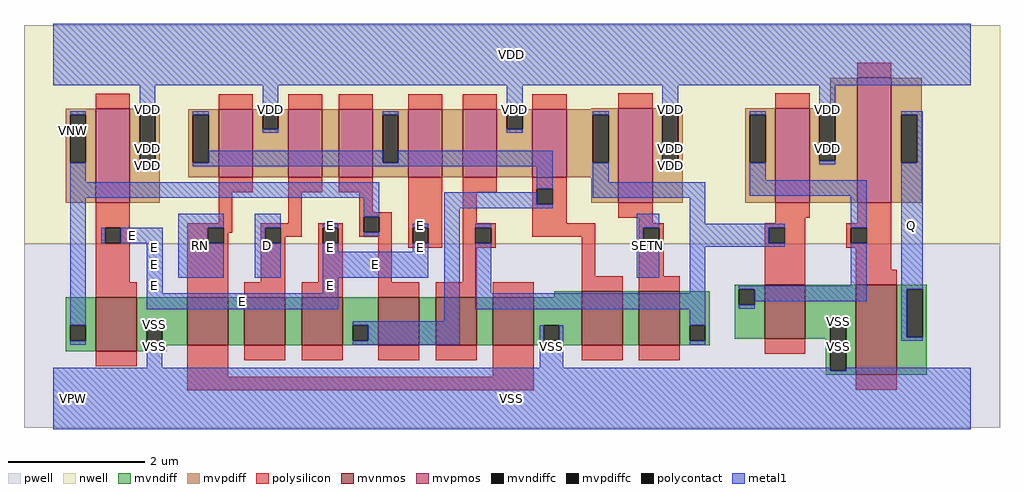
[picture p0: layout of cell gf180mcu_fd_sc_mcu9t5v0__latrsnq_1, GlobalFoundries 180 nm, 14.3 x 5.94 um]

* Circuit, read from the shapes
.subckt gf180mcu_fd_sc_mcu9t5v0__latrsnq_1 D E RN SETN Q VDD VNW VPW VSS
XM1 VSS E n1 VPW nfet_06v0 w=0.79u l=0.6u
XM2 n2 RN VSS VPW nfet_06v0 w=0.7u l=0.6u
XM3 n3 D n2 VPW nfet_06v0 w=0.7u l=0.6u
XM4 n4 E n3 VPW nfet_06v0 w=0.7u l=0.6u
XM5 n5 n1 n4 VPW nfet_06v0 w=0.7u l=0.6u
XM6 n6 n7 n5 VPW nfet_06v0 w=0.7u l=0.6u
XM7 VSS RN n6 VPW nfet_06v0 w=0.7u l=0.6u
XM8 n8 n4 VSS VPW nfet_06v0 w=0.79u l=0.6u
XM9 n7 SETN n8 VPW nfet_06v0 w=0.79u l=0.6u
XM10 VSS n7 n9 VPW nfet_06v0 w=0.79u l=0.6u
XM11 Q n9 VSS VPW nfet_06v0 w=1.32u l=0.6u
XM12 VDD E n1 VNW pfet_06v0 w=1.38u l=0.5u
XM13 VDD RN n4 VNW pfet_06v0 w=1u l=0.5u
XM14 n10 D VDD VNW pfet_06v0 w=1u l=0.5u
XM15 n4 n1 n10 VNW pfet_06v0 w=1u l=0.5u
XM16 n11 E n4 VNW pfet_06v0 w=1u l=0.5u
XM17 VDD n7 n11 VNW pfet_06v0 w=1u l=0.5u
XM18 n7 n4 VDD VNW pfet_06v0 w=1u l=0.5u
XM19 VDD SETN n7 VNW pfet_06v0 w=1.38u l=0.5u
XM20 VDD n7 n9 VNW pfet_06v0 w=1.38u l=0.5u
XM21 Q n9 VDD VNW pfet_06v0 w=1.83u l=0.5u
.ends

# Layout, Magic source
magic
tech gf180mcuD
magscale 1 10
<< nwell >>
rect -86 453 2774 1094
<< pwell >>
rect -86 -86 2774 453
<< mvnmos >>
rect 124 138 244 296
rect 392 156 512 296
rect 560 156 680 296
rect 728 156 848 296
rect 952 156 1072 296
rect 1120 156 1240 296
rect 1288 156 1408 296
rect 1548 156 1668 314
rect 1716 156 1836 314
rect 2084 175 2204 333
rect 2352 69 2472 333
<< mvpmos >>
rect 124 573 224 849
rect 484 648 584 848
rect 688 648 788 848
rect 836 648 936 848
rect 1040 648 1140 848
rect 1200 648 1300 848
rect 1404 648 1504 848
rect 1656 574 1756 850
rect 2116 574 2216 850
rect 2356 574 2456 940
<< mvndiff >>
rect 1996 320 2084 333
rect 1468 296 1548 314
rect 36 215 124 296
rect 36 169 49 215
rect 95 169 124 215
rect 36 138 124 169
rect 244 205 392 296
rect 244 159 273 205
rect 319 159 392 205
rect 244 156 392 159
rect 512 156 560 296
rect 680 156 728 296
rect 848 215 952 296
rect 848 169 877 215
rect 923 169 952 215
rect 848 156 952 169
rect 1072 156 1120 296
rect 1240 156 1288 296
rect 1408 215 1548 296
rect 1408 169 1437 215
rect 1483 169 1548 215
rect 1408 156 1548 169
rect 1668 156 1716 314
rect 1836 215 1924 314
rect 1836 169 1865 215
rect 1911 169 1924 215
rect 1996 274 2009 320
rect 2055 274 2084 320
rect 1996 175 2084 274
rect 2204 222 2352 333
rect 2204 175 2277 222
rect 1836 156 1924 169
rect 244 138 332 156
rect 2264 82 2277 175
rect 2323 82 2352 222
rect 2264 69 2352 82
rect 2472 320 2560 333
rect 2472 180 2501 320
rect 2547 180 2560 320
rect 2472 69 2560 180
<< mvpdiff >>
rect 36 831 124 849
rect 36 691 49 831
rect 95 691 124 831
rect 36 573 124 691
rect 224 831 312 849
rect 2276 850 2356 940
rect 1576 848 1656 850
rect 224 691 253 831
rect 299 691 312 831
rect 224 573 312 691
rect 396 831 484 848
rect 396 691 409 831
rect 455 691 484 831
rect 396 648 484 691
rect 584 835 688 848
rect 584 789 613 835
rect 659 789 688 835
rect 584 648 688 789
rect 788 648 836 848
rect 936 831 1040 848
rect 936 691 965 831
rect 1011 691 1040 831
rect 936 648 1040 691
rect 1140 648 1200 848
rect 1300 835 1404 848
rect 1300 789 1329 835
rect 1375 789 1404 835
rect 1300 648 1404 789
rect 1504 831 1656 848
rect 1504 691 1581 831
rect 1627 691 1656 831
rect 1504 648 1656 691
rect 1576 574 1656 648
rect 1756 831 1844 850
rect 1756 691 1785 831
rect 1831 691 1844 831
rect 1756 574 1844 691
rect 2028 831 2116 850
rect 2028 691 2041 831
rect 2087 691 2116 831
rect 2028 574 2116 691
rect 2216 837 2356 850
rect 2216 697 2245 837
rect 2291 697 2356 837
rect 2216 574 2356 697
rect 2456 831 2544 940
rect 2456 691 2485 831
rect 2531 691 2544 831
rect 2456 574 2544 691
<< mvndiffc >>
rect 49 169 95 215
rect 273 159 319 205
rect 877 169 923 215
rect 1437 169 1483 215
rect 1865 169 1911 215
rect 2009 274 2055 320
rect 2277 82 2323 222
rect 2501 180 2547 320
<< mvpdiffc >>
rect 49 691 95 831
rect 253 691 299 831
rect 409 691 455 831
rect 613 789 659 835
rect 965 691 1011 831
rect 1329 789 1375 835
rect 1581 691 1627 831
rect 1785 691 1831 831
rect 2041 691 2087 831
rect 2245 697 2291 837
rect 2485 691 2531 831
<< polysilicon >>
rect 2356 940 2456 984
rect 124 849 224 893
rect 484 848 584 892
rect 688 848 788 892
rect 836 848 936 892
rect 1040 848 1140 892
rect 1200 848 1300 892
rect 1404 848 1504 892
rect 1656 850 1756 894
rect 2116 850 2216 894
rect 484 604 584 648
rect 688 604 788 648
rect 836 604 936 648
rect 124 501 224 573
rect 484 514 524 604
rect 688 514 728 604
rect 896 546 936 604
rect 896 533 992 546
rect 124 455 152 501
rect 198 455 224 501
rect 124 340 224 455
rect 392 501 524 514
rect 392 455 453 501
rect 499 485 524 501
rect 608 501 728 514
rect 499 455 512 485
rect 124 296 244 340
rect 392 296 512 455
rect 608 455 621 501
rect 667 474 728 501
rect 776 501 848 514
rect 667 455 680 474
rect 608 340 680 455
rect 776 455 789 501
rect 835 455 848 501
rect 896 487 909 533
rect 955 487 992 533
rect 896 474 992 487
rect 776 340 848 455
rect 560 296 680 340
rect 728 296 848 340
rect 952 340 992 474
rect 1040 501 1140 648
rect 1040 455 1053 501
rect 1099 455 1140 501
rect 1040 442 1140 455
rect 1200 604 1300 648
rect 1404 615 1504 648
rect 1200 514 1240 604
rect 1404 569 1417 615
rect 1463 569 1504 615
rect 1404 514 1504 569
rect 1656 530 1756 574
rect 1716 514 1756 530
rect 2116 530 2216 574
rect 2116 514 2204 530
rect 2356 514 2456 574
rect 1200 501 1296 514
rect 1200 455 1237 501
rect 1283 455 1296 501
rect 1404 474 1588 514
rect 1200 442 1296 455
rect 1200 340 1240 442
rect 1548 358 1588 474
rect 1716 501 1788 514
rect 1716 455 1729 501
rect 1775 455 1788 501
rect 1716 358 1788 455
rect 2084 501 2204 514
rect 2084 455 2097 501
rect 2143 455 2204 501
rect 952 296 1072 340
rect 1120 296 1240 340
rect 1288 296 1408 340
rect 1548 314 1668 358
rect 1716 314 1836 358
rect 2084 333 2204 455
rect 2324 501 2456 514
rect 2324 455 2337 501
rect 2383 455 2456 501
rect 2324 442 2456 455
rect 2352 377 2456 442
rect 2352 333 2472 377
rect 124 94 244 138
rect 392 64 512 156
rect 560 112 680 156
rect 728 112 848 156
rect 952 112 1072 156
rect 1120 112 1240 156
rect 1288 64 1408 156
rect 1548 112 1668 156
rect 1716 112 1836 156
rect 2084 131 2204 175
rect 392 24 1408 64
rect 2352 25 2472 69
<< polycontact >>
rect 152 455 198 501
rect 453 455 499 501
rect 621 455 667 501
rect 789 455 835 501
rect 909 487 955 533
rect 1053 455 1099 501
rect 1417 569 1463 615
rect 1237 455 1283 501
rect 1729 455 1775 501
rect 2097 455 2143 501
rect 2337 455 2383 501
<< metal1 >>
rect 0 918 2688 1098
rect 49 831 95 842
rect 49 634 95 691
rect 253 831 299 918
rect 253 680 299 691
rect 409 831 455 842
rect 613 835 659 918
rect 613 778 659 789
rect 965 831 1011 842
rect 455 691 965 726
rect 1329 835 1375 918
rect 1329 778 1375 789
rect 1581 831 1627 842
rect 1011 691 1463 726
rect 409 680 1463 691
rect 49 588 955 634
rect 1417 615 1463 680
rect 49 215 95 588
rect 366 501 499 542
rect 141 455 152 501
rect 198 455 320 501
rect 274 308 320 455
rect 366 455 453 501
rect 366 354 499 455
rect 590 501 667 542
rect 909 533 955 588
rect 590 455 621 501
rect 590 354 667 455
rect 789 501 835 512
rect 1145 569 1417 604
rect 1581 634 1627 691
rect 1785 831 1831 918
rect 1785 680 1831 691
rect 2041 831 2087 842
rect 2041 640 2087 691
rect 2245 837 2291 918
rect 2245 686 2291 697
rect 2485 831 2547 842
rect 2531 691 2547 831
rect 1581 588 1911 634
rect 2041 594 2383 640
rect 1145 558 1463 569
rect 909 476 955 487
rect 1053 501 1099 512
rect 789 430 835 455
rect 1053 430 1099 455
rect 789 354 1099 430
rect 789 308 835 354
rect 274 262 835 308
rect 1145 226 1191 558
rect 1237 501 1283 512
rect 1237 308 1283 455
rect 1710 501 1775 542
rect 1710 455 1729 501
rect 1710 354 1775 455
rect 1865 512 1911 588
rect 1865 501 2143 512
rect 1865 455 2097 501
rect 1865 444 2143 455
rect 2337 501 2383 594
rect 1865 308 1911 444
rect 2337 331 2383 455
rect 1237 262 1911 308
rect 2009 320 2383 331
rect 2055 285 2383 320
rect 2485 320 2547 691
rect 2009 263 2055 274
rect 49 158 95 169
rect 273 205 319 216
rect 273 90 319 159
rect 877 215 1191 226
rect 1865 215 1911 262
rect 923 169 1191 215
rect 877 158 1191 169
rect 1426 169 1437 215
rect 1483 169 1494 215
rect 1426 90 1494 169
rect 1865 158 1911 169
rect 2277 222 2323 233
rect 0 82 2277 90
rect 2485 180 2501 320
rect 2485 169 2547 180
rect 2323 82 2688 90
rect 0 -90 2688 82
<< labels >>
flabel metal1 s 590 354 667 542 0 FreeSans 200 0 0 0 D
port 1 nsew default input
flabel metal1 s 1053 501 1099 512 0 FreeSans 200 0 0 0 E
port 2 nsew clock input
flabel metal1 s 2485 169 2547 842 0 FreeSans 200 0 0 0 Q
port 5 nsew default output
flabel metal1 s 366 354 499 542 0 FreeSans 200 0 0 0 RN
port 3 nsew default input
flabel metal1 s 1710 354 1775 542 0 FreeSans 200 0 0 0 SETN
port 4 nsew default input
flabel metal1 s 0 918 2688 1098 0 FreeSans 200 0 0 0 VDD
port 6 nsew power bidirectional abutment
flabel metal1 s 2277 216 2323 233 0 FreeSans 200 0 0 0 VSS
port 9 nsew ground bidirectional abutment
flabel nwell s 10 734 110 834 0 FreeSans 400 0 0 0 VNW
port 7 nsew power bidirectional
flabel pwell s 10 -50 110 50 0 FreeSans 400 0 0 0 VPW
port 8 nsew ground bidirectional
rlabel metal1 s 789 501 835 512 1 E
port 2 nsew clock input
rlabel metal1 s 1053 455 1099 501 1 E
port 2 nsew clock input
rlabel metal1 s 789 455 835 501 1 E
port 2 nsew clock input
rlabel metal1 s 141 455 320 501 1 E
port 2 nsew clock input
rlabel metal1 s 1053 430 1099 455 1 E
port 2 nsew clock input
rlabel metal1 s 789 430 835 455 1 E
port 2 nsew clock input
rlabel metal1 s 274 430 320 455 1 E
port 2 nsew clock input
rlabel metal1 s 789 354 1099 430 1 E
port 2 nsew clock input
rlabel metal1 s 274 354 320 430 1 E
port 2 nsew clock input
rlabel metal1 s 789 308 835 354 1 E
port 2 nsew clock input
rlabel metal1 s 274 308 320 354 1 E
port 2 nsew clock input
rlabel metal1 s 274 262 835 308 1 E
port 2 nsew clock input
rlabel metal1 s 2245 778 2291 918 1 VDD
port 6 nsew power bidirectional abutment
rlabel metal1 s 1785 778 1831 918 1 VDD
port 6 nsew power bidirectional abutment
rlabel metal1 s 1329 778 1375 918 1 VDD
port 6 nsew power bidirectional abutment
rlabel metal1 s 613 778 659 918 1 VDD
port 6 nsew power bidirectional abutment
rlabel metal1 s 253 778 299 918 1 VDD
port 6 nsew power bidirectional abutment
rlabel metal1 s 2245 686 2291 778 1 VDD
port 6 nsew power bidirectional abutment
rlabel metal1 s 1785 686 1831 778 1 VDD
port 6 nsew power bidirectional abutment
rlabel metal1 s 253 686 299 778 1 VDD
port 6 nsew power bidirectional abutment
rlabel metal1 s 1785 680 1831 686 1 VDD
port 6 nsew power bidirectional abutment
rlabel metal1 s 253 680 299 686 1 VDD
port 6 nsew power bidirectional abutment
rlabel metal1 s 2277 215 2323 216 1 VSS
port 9 nsew ground bidirectional abutment
rlabel metal1 s 273 215 319 216 1 VSS
port 9 nsew ground bidirectional abutment
rlabel metal1 s 2277 90 2323 215 1 VSS
port 9 nsew ground bidirectional abutment
rlabel metal1 s 1426 90 1494 215 1 VSS
port 9 nsew ground bidirectional abutment
rlabel metal1 s 273 90 319 215 1 VSS
port 9 nsew ground bidirectional abutment
rlabel metal1 s 0 -90 2688 90 1 VSS
port 9 nsew ground bidirectional abutment
<< properties >>
string FIXED_BBOX 0 0 2688 1008
string GDS_END 1031682
string GDS_FILE $PDKPATH/libs.ref/gf180mcu_fd_sc_mcu9t5v0/gds/gf180mcu_fd_sc_mcu9t5v0.gds
string GDS_START 1024720
string LEFclass core
string LEFsite GF018hv5v_green_sc9
string LEFsymmetry X Y
<< end >>
